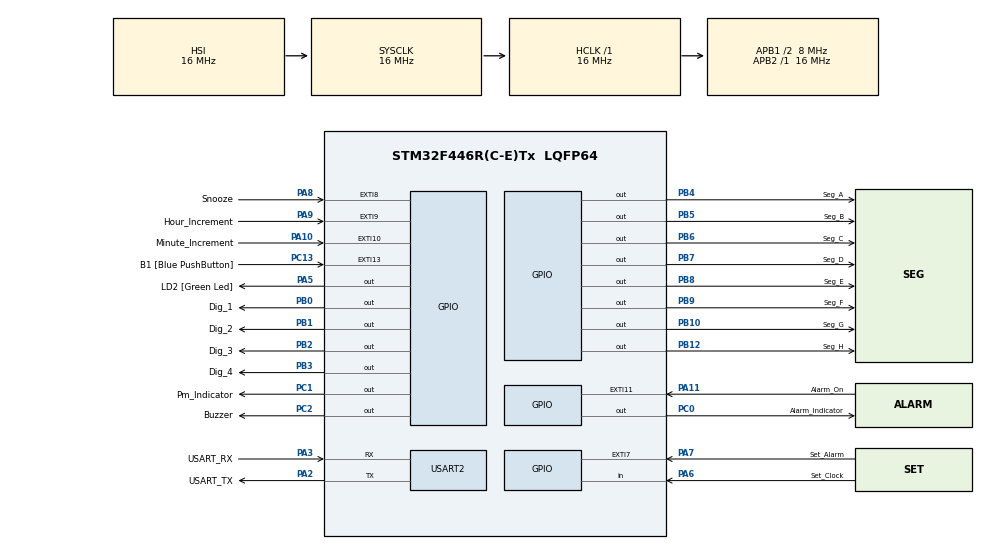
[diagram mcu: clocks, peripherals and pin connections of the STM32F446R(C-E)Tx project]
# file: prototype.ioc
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Mcu.Family=STM32F4
Mcu.Name=STM32F446R(C-E)Tx
Mcu.Package=LQFP64
Mcu.UserConstants=BUZZER_PSC,1599;BUZZER_PERIOD,4999;DISPLAY_PSC,1599;DISPLAY_PERIOD,24
NVIC.EXTI15_10_IRQn=true\:0\:0\:false\:false\:true\:true\:true\:true
NVIC.EXTI9_5_IRQn=true\:0\:0\:false\:false\:true\:true\:true\:true
NVIC.PriorityGroup=NVIC_PRIORITYGROUP_0
NVIC.RTC_Alarm_IRQn=true\:0\:0\:false\:false\:true\:true\:true\:true
NVIC.TIM6_DAC_IRQn=true\:0\:0\:false\:false\:true\:true\:true\:true
NVIC.TIM7_IRQn=true\:0\:0\:false\:false\:true\:true\:true\:true
PA10.GPIO_Label=Minute_Increment
PA10.GPIO_ModeDefaultEXTI=GPIO_MODE_IT_FALLING
PA10.Signal=GPXTI10
PA11.GPIO_Label=Alarm_On
PA11.GPIO_ModeDefaultEXTI=GPIO_MODE_IT_RISING_FALLING
PA11.Signal=GPXTI11
PA13.Mode=Serial_Wire
PA13.Signal=SYS_JTMS-SWDIO
PA14.Mode=Serial_Wire
PA14.Signal=SYS_JTCK-SWCLK
PA2.GPIO_Label=USART_TX
PA2.Mode=Asynchronous
PA2.Signal=USART2_TX
PA3.GPIO_Label=USART_RX
PA3.Mode=Asynchronous
PA3.Signal=USART2_RX
PA5.GPIO_Label=LD2 [Green Led]
PA5.Signal=GPIO_Output
PA6.GPIO_Label=Set_Clock
PA6.Signal=GPIO_Input
PA7.GPIO_Label=Set_Alarm
PA7.GPIO_ModeDefaultEXTI=GPIO_MODE_IT_RISING_FALLING
PA7.Signal=GPXTI7
PA8.GPIO_Label=Snooze
PA8.Signal=GPXTI8
PA9.GPIO_Label=Hour_Increment
PA9.GPIO_ModeDefaultEXTI=GPIO_MODE_IT_FALLING
PA9.Signal=GPXTI9
PB0.GPIO_Label=Dig_1
PB0.Signal=GPIO_Output
PB1.GPIO_Label=Dig_2
PB1.Signal=GPIO_Output
PB10.GPIO_Label=Seg_G
PB10.Signal=GPIO_Output
PB12.GPIO_Label=Seg_H
PB12.Signal=GPIO_Output
PB2.GPIO_Label=Dig_3
PB2.Signal=GPIO_Output
PB3.GPIO_Label=Dig_4
PB3.Signal=GPIO_Output
PB4.GPIO_Label=Seg_A
PB4.Signal=GPIO_Output
PB5.GPIO_Label=Seg_B
PB5.Signal=GPIO_Output
PB6.GPIO_Label=Seg_C
PB6.Signal=GPIO_Output
PB7.GPIO_Label=Seg_D
PB7.Signal=GPIO_Output
PB8.GPIO_Label=Seg_E
PB8.Signal=GPIO_Output
PB9.GPIO_Label=Seg_F
PB9.Signal=GPIO_Output
PC0.GPIO_Label=Alarm_Indicator
PC0.Signal=GPIO_Output
PC1.GPIO_Label=Pm_Indicator
PC1.Signal=GPIO_Output
PC13.GPIO_Label=B1 [Blue PushButton]
PC13.GPIO_ModeDefaultEXTI=GPIO_MODE_IT_FALLING
PC13.Signal=GPXTI13
PC14-OSC32_IN.Mode=LSE-External-Oscillator
PC14-OSC32_IN.Signal=RCC_OSC32_IN
PC15-OSC32_OUT.Mode=LSE-External-Oscillator
PC15-OSC32_OUT.Signal=RCC_OSC32_OUT
PC2.GPIO_Label=Buzzer
PC2.Signal=GPIO_Output
PH0-OSC_IN.Mode=HSE-External-Oscillator
PH0-OSC_IN.Signal=RCC_OSC_IN
PH1-OSC_OUT.Mode=HSE-External-Oscillator
PH1-OSC_OUT.Signal=RCC_OSC_OUT
ProjectManager.HeapSize=0x200
ProjectManager.StackSize=0x400
ProjectManager.TargetToolchain=STM32CubeIDE
RCC.48MHZClocksFreq_Value=84000000
RCC.AHBFreq_Value=16000000
RCC.APB1CLKDivider=RCC_HCLK_DIV2
RCC.APB1Freq_Value=8000000
RCC.APB1TimFreq_Value=16000000
RCC.APB2Freq_Value=16000000
RCC.APB2TimFreq_Value=16000000
RCC.CortexFreq_Value=16000000
RCC.FLatency-AdvancedSettings=FLASH_LATENCY_0
RCC.HCLKFreq_Value=16000000
RCC.HSE_VALUE=8000000
RCC.HSI_VALUE=16000000
RCC.PLLN=336
RCC.PLLP=RCC_PLLP_DIV4
RCC.RCC_RTC_Clock_SourceVirtual=RCC_RTCCLKSOURCE_LSE
RCC.SYSCLKFreq_VALUE=16000000
RCC.USBFreq_Value=168000000
RCC.VCOOutputFreq_Value=336000000
RTC.Alarm=RTC_ALARM_A
RTC.AlarmDateWeekDaySel=RTC_ALARMDATEWEEKDAYSEL_WEEKDAY
RTC.AlarmMaskDateWeekDay=RTC_ALARMMASK_DATEWEEKDAY
RTC.AlarmMaskHours=RTC_ALARMMASK_HOURS
RTC.AlarmMaskMinutes=RTC_ALARMMASK_MINUTES
TIM6.Period=BUZZER_PERIOD
TIM6.Prescaler=BUZZER_PSC
TIM7.Period=DISPLAY_PERIOD
TIM7.Prescaler=DISPLAY_PSC
USART2.VirtualMode=VM_ASYNC
VP_RTC_VS_RTC_Activate.Mode=RTC_Enabled
VP_RTC_VS_RTC_Alarm_A_Intern.Mode=Alarm A
VP_RTC_VS_RTC_Calendar.Mode=RTC_Calendar
VP_TIM6_VS_ClockSourceINT.Mode=Enable_Timer
VP_TIM7_VS_ClockSourceINT.Mode=Enable_Timer
board=NUCLEO-F446RE

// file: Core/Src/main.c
/* USER CODE BEGIN Header */
/**
  ******************************************************************************
  * @file           : main.c
  * @brief          : Main program body
  ******************************************************************************
  * @attention
  *
  * Copyright (c) 2025 STMicroelectronics.
  * All rights reserved.
  *
  * This software is licensed under terms that can be found in the LICENSE file
  * in the root directory of this software component.
  * If no LICENSE file comes with this software, it is provided AS-IS.
  *
  ******************************************************************************
  */
/* USER CODE END Header */
#include "main.h"
#include "rtc.h"
#include "tim.h"
#include "usart.h"
#include "gpio.h"

/* USER CODE BEGIN Includes */
#include <stdio.h>
#include <string.h>
#include <stdbool.h>
/* USER CODE END Includes */

/* USER CODE BEGIN PV */
const uint16_t digit_pins[4] = {
		Dig_1_Pin,
		Dig_2_Pin,
		Dig_3_Pin,
		Dig_4_Pin
};
const uint16_t segment_pins[8] = {
		Seg_A_Pin,
		Seg_B_Pin,
		Seg_C_Pin,
		Seg_D_Pin,
		Seg_E_Pin,
		Seg_F_Pin,
		Seg_G_Pin,
		Seg_H_Pin
};
const uint8_t segment_map[16] = {
		0x3F,	// 0
		0x06,	// 1
		0x5B,	// 2
		0x4F,	// 3
		0x66,	// 4
		0x6D,	// 5
		0x7D,	// 6
		0x07,	// 7
		0x7F,	// 8
		0x6F,	// 9
		0x77,	// A
		0x7C,	// b
		0x39,	// C
		0x5E,	// d
		0x79,	// E
		0x71	// F
};
char uart_buf[64];
volatile uint8_t clock_hour = 0;
volatile uint8_t clock_minute = 0;
volatile uint8_t alarm_hour = 0;
volatile uint8_t alarm_minute = 0;

volatile uint8_t current_digit = 0;

bool alarm_enabled;
bool alarm_triggered = false;

volatile bool is_display_alarm = 0;

volatile bool wakeup_time_update = true;
volatile bool wakeup_alarm_state = true;
volatile bool wakeup_hour_increment = false;
volatile bool wakeup_minute_increment = false;
volatile bool wakeup_alarm_display = false;
volatile bool wakeup_snooze = false;
/* USER CODE END PV */

void SystemClock_Config(void);
/* USER CODE BEGIN PFP */
void update_display(void);
void write_segment(uint8_t seg);
void disable_all_digits(void);
void update_time(void);
void handle_alarm_switch(void);
void handle_time_adjust(void);
void handle_snooze(void);
void update_display_mode(void);
/* USER CODE END PFP */

/* USER CODE BEGIN 0 */
int __io_putchar(int ch)
{
	HAL_UART_Transmit(&huart2, (uint8_t *)&ch, 1, HAL_MAX_DELAY);
	return ch;
}
/* USER CODE END 0 */

int main(void)
{

  /* MCU Configuration--------------------------------------------------------*/

  /* Reset of all peripherals, Initializes the Flash interface and the Systick. */
  HAL_Init();

  /* Configure the system clock */
  SystemClock_Config();

  /* Initialize all configured peripherals */
  MX_GPIO_Init();
  MX_USART2_UART_Init();
  MX_RTC_Init();
  MX_TIM6_Init();
  MX_TIM7_Init();
  /* USER CODE BEGIN 2 */
  printf("Alarm clock started.\r\n");
  HAL_TIM_Base_Start_IT(&htim7);
  /* USER CODE END 2 */

  /* Infinite loop */
  /* USER CODE BEGIN WHILE */
  while (1)
  {
	if (wakeup_time_update) {
		wakeup_time_update = false;
		update_time();
	}
	if (wakeup_alarm_state) {
		wakeup_alarm_state = false;
		handle_alarm_switch();
	}
	if (wakeup_hour_increment || wakeup_minute_increment) {
		handle_time_adjust();
	}
	if (wakeup_snooze) {
		handle_snooze();
	}
	if (wakeup_alarm_display) {
		update_display_mode();
	}
    /* USER CODE END WHILE */

    /* USER CODE BEGIN 3 */
	__WFI();
  }
  /* USER CODE END 3 */
}

void SystemClock_Config(void)
{
  RCC_OscInitTypeDef RCC_OscInitStruct = {0};
  RCC_ClkInitTypeDef RCC_ClkInitStruct = {0};

  /** Configure the main internal regulator output voltage
  */
  __HAL_RCC_PWR_CLK_ENABLE();
  __HAL_PWR_VOLTAGESCALING_CONFIG(PWR_REGULATOR_VOLTAGE_SCALE3);

  /** Initializes the RCC Oscillators according to the specified parameters
  * in the RCC_OscInitTypeDef structure.
  */
  RCC_OscInitStruct.OscillatorType = RCC_OSCILLATORTYPE_HSI|RCC_OSCILLATORTYPE_LSE;
  RCC_OscInitStruct.LSEState = RCC_LSE_ON;
  RCC_OscInitStruct.HSIState = RCC_HSI_ON;
  RCC_OscInitStruct.HSICalibrationValue = RCC_HSICALIBRATION_DEFAULT;
  RCC_OscInitStruct.PLL.PLLState = RCC_PLL_NONE;
  if (HAL_RCC_OscConfig(&RCC_OscInitStruct) != HAL_OK)
  {
    Error_Handler();
  }

  /** Initializes the CPU, AHB and APB buses clocks
  */
  RCC_ClkInitStruct.ClockType = RCC_CLOCKTYPE_HCLK|RCC_CLOCKTYPE_SYSCLK
                              |RCC_CLOCKTYPE_PCLK1|RCC_CLOCKTYPE_PCLK2;
  RCC_ClkInitStruct.SYSCLKSource = RCC_SYSCLKSOURCE_HSI;
  RCC_ClkInitStruct.AHBCLKDivider = RCC_SYSCLK_DIV1;
  RCC_ClkInitStruct.APB1CLKDivider = RCC_HCLK_DIV2;
  RCC_ClkInitStruct.APB2CLKDivider = RCC_HCLK_DIV1;

  if (HAL_RCC_ClockConfig(&RCC_ClkInitStruct, FLASH_LATENCY_0) != HAL_OK)
  {
    Error_Handler();
  }
}

/* USER CODE BEGIN 4 */
void HAL_RTC_AlarmAEventCallback(RTC_HandleTypeDef *hrtc)
{
	wakeup_time_update = true;
}

void HAL_GPIO_EXTI_Callback(uint16_t GPIO_Pin)
{
	if (GPIO_Pin == Set_Alarm_Pin) {
		wakeup_alarm_display = true;
	} else if (GPIO_Pin == Alarm_On_Pin) {
		wakeup_alarm_state = true;
	} else if (GPIO_Pin == Snooze_Pin) {
		wakeup_snooze = true;
	} else if (GPIO_Pin == Hour_Increment_Pin) {
		wakeup_hour_increment = true;
	} else if (GPIO_Pin == Minute_Increment_Pin) {
		wakeup_minute_increment = true;
	}
}

void HAL_TIM_PeriodElapsedCallback(TIM_HandleTypeDef *htim)
{
	if (htim->Instance == TIM6) {
		HAL_GPIO_TogglePin(GPIOC, Buzzer_Pin);
	} else if (htim->Instance == TIM7) {
		update_display();
	}
}

void update_display()
{
	disable_all_digits();

	uint8_t hour, minute;
	bool is_pm;

	if (is_display_alarm) {
		hour = (alarm_hour % 12) ? alarm_hour % 12 : 12;
		minute = alarm_minute;
		is_pm = alarm_hour >= 12;
	} else {
		hour = (clock_hour % 12) ? clock_hour % 12 : 12;
		minute = clock_minute;
		is_pm = clock_hour >= 12;
	}

	uint8_t display[4] = {
			(hour / 10) & 0x0F,
			(hour % 10) & 0x0F,
			(minute / 10) & 0x0F,
			(minute % 10) & 0x0F
	};

	uint8_t seg = segment_map[display[current_digit]];
	if (current_digit == 0 && display[0] == 0) {
		seg = 0x00;
	}

	write_segment(seg);
	HAL_GPIO_WritePin(GPIOB, digit_pins[current_digit], GPIO_PIN_RESET);

	HAL_GPIO_WritePin(GPIOC, Pm_Indicator_Pin, (GPIO_PinState) is_pm);

	current_digit = (current_digit + 1) % 4;
}

void write_segment(uint8_t seg)
{
	for (int i = 0; i < 8; i++) {
		HAL_GPIO_WritePin(GPIOB, segment_pins[i], (seg & (1 << i)) ? GPIO_PIN_SET : GPIO_PIN_RESET);
	}
}

void disable_all_digits()
{
	for (int i = 0; i < 4; i++) {
		HAL_GPIO_WritePin(GPIOB, digit_pins[i], GPIO_PIN_SET);
	}
}

void update_time(void)
{
	RTC_TimeTypeDef time;
	RTC_DateTypeDef date;

	HAL_RTC_GetTime(&hrtc, &time, RTC_FORMAT_BIN);
	HAL_RTC_GetDate(&hrtc, &date, RTC_FORMAT_BIN);

	clock_hour = time.Hours;
	clock_minute = time.Minutes;

	if (clock_hour == alarm_hour && clock_minute == alarm_minute) {
		if (alarm_enabled) {
			alarm_triggered = true;
			__HAL_TIM_SET_COUNTER(&htim6, 0);
			HAL_TIM_Base_Start_IT(&htim6);
			HAL_GPIO_WritePin(GPIOC, Buzzer_Pin, GPIO_PIN_SET);
		}
	}
}

void handle_alarm_switch(void)
{
	if (HAL_GPIO_ReadPin(GPIOA, Alarm_On_Pin) == GPIO_PIN_RESET) {
		if (alarm_triggered) {
			HAL_TIM_Base_Stop_IT(&htim6);
			HAL_GPIO_WritePin(GPIOC, Buzzer_Pin, GPIO_PIN_RESET);
		}
		HAL_GPIO_WritePin(GPIOC, Alarm_Indicator_Pin, GPIO_PIN_RESET);
		alarm_enabled = false;
		alarm_triggered = false;
	} else {
		HAL_GPIO_WritePin(GPIOC, Alarm_Indicator_Pin, GPIO_PIN_SET);
		alarm_enabled = true;
	}
}

void handle_time_adjust(void)
{
	if (wakeup_hour_increment) {
		wakeup_hour_increment = false;
		if (HAL_GPIO_ReadPin(GPIOA, Set_Clock_Pin) == GPIO_PIN_RESET) {
			clock_hour = (clock_hour + 1) % 24;

			RTC_SetTime(clock_hour, clock_minute, 0);
		}
		if (HAL_GPIO_ReadPin(GPIOA, Set_Alarm_Pin) == GPIO_PIN_RESET) {
			alarm_hour = (alarm_hour + 1) % 24;
		}
	}
	if (wakeup_minute_increment) {
		wakeup_minute_increment = false;
		if (HAL_GPIO_ReadPin(GPIOA, Set_Clock_Pin) == GPIO_PIN_RESET) {
			clock_minute = (clock_minute + 1) % 60;

			RTC_SetTime(clock_hour, clock_minute, 0);
		}
		if (HAL_GPIO_ReadPin(GPIOA, Set_Alarm_Pin) == GPIO_PIN_RESET) {
			alarm_minute = (alarm_minute + 1) % 60;
		}
	}
}

void handle_snooze(void)
{
	wakeup_snooze = false;
	if (alarm_triggered) {
		alarm_hour = (clock_hour + clock_minute/60) % 24;
		alarm_minute = (clock_minute + 9) % 60;
		alarm_triggered = false;

		HAL_TIM_Base_Stop_IT(&htim6);
		HAL_GPIO_WritePin(GPIOC, Buzzer_Pin, GPIO_PIN_RESET);
	}
}

void update_display_mode(void)
{
	wakeup_alarm_display = false;
	is_display_alarm = HAL_GPIO_ReadPin(GPIOA, Set_Alarm_Pin) == GPIO_PIN_RESET;
}
/* USER CODE END 4 */

void Error_Handler(void)
{
  __disable_irq();
  while (1)
  {
  }
}
